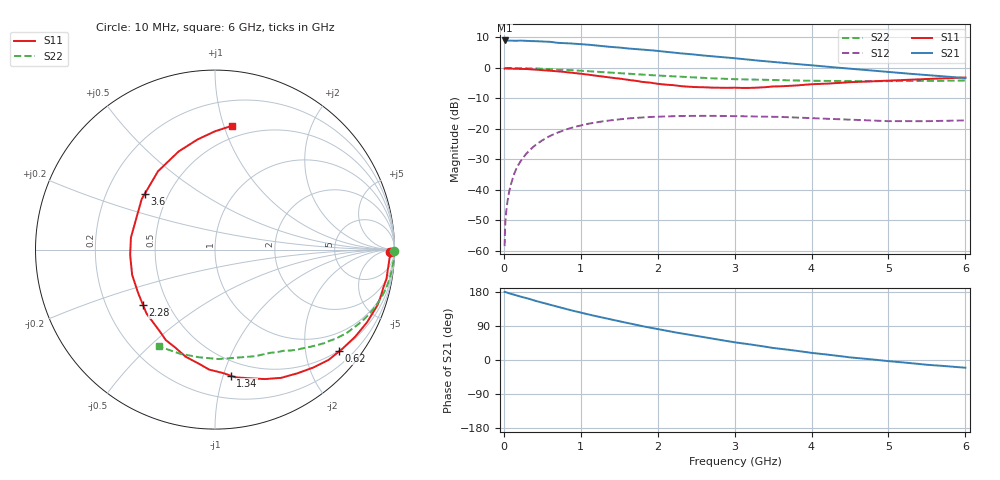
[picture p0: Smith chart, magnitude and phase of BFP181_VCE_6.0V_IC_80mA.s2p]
! Infineon Technologies  Discrete & RF Semiconductors
! BFP181
! VCE = 6.0 V,  IC =  80 mA
! Common Emitter S-Parameters:  Jan 2016
# GHz  S  MA  R  50
!  f  S11  S21  S12  S22
! GHz  MAG  ANG  MAG  ANG  MAG  ANG  MAG  ANG
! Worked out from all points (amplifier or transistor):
!   210 points, 10 MHz to 6 GHz, reference 50 ohm
!   highest |S21| = 9.0 dB at 10 MHz (marker M1)
!   |S21| within 3 dB of that: start of sweep to 1.819 GHz
!   unconditionally stable (mu >= 1): 3.342 GHz to end of sweep
!   at 185 MHz: K = 0.06, MSG = 20.4 dB, |S12| = -31.9 dB
!   at 1.52 GHz: K = 0.49, MSG = 11.7 dB, |S12| = -16.8 dB
!   at 6 GHz: K = 1.31, MAG = 3.6 dB, |S12| = -17.2 dB
!   S11 on the Smith chart (normalised r, x): 10 MHz: 59, -30; 620 MHz: 0.48, -2.73; 1.34 GHz: 0.38, -1.06; 2.28 GHz: 0.36, -0.30; 3.6 GHz: 0.37, +0.31; 6 GHz: 0.40, +1.06
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0.01  0.9735 -0.8  2.813 179.6  0.0012 83.5  0.9989 -0.3
0.015  0.9769 -1.1  2.807 179.6  0.0021 88.9  0.9963 -0.4
0.02  0.9804 -1.4  2.801 179.5  0.003 91.0  0.9937 -0.5
0.045  0.9744 -2.7  2.802 177.6  0.0062 90.9  0.9966 -1.4
0.08  0.9704 -5.2  2.795 175.5  0.0108 86.9  0.9972 -2.4
0.15  0.9692 -9.6  2.776 171.4  0.0205 83.2  0.9951 -4.5
0.2  0.9612 -12.9  2.805 168.3  0.0273 81.8  0.9927 -6.1
0.34  0.948 -21.6  2.749 160.6  0.0454 75.1  0.9839 -10.3
0.5  0.9195 -31.9  2.709 150.9  0.0651 68.1  0.9688 -14.9
0.62  0.8948 -39.3  2.65 144.7  0.0787 63.2  0.9538 -18.3
0.84  0.8434 -52.6  2.529 133.0  0.1006 54.7  0.9228 -24.0
1.02  0.7971 -63.9  2.432 124.1  0.1154 48.3  0.8943 -28.4
1.34  0.7079 -82.9  2.236 109.4  0.136 37.8  0.844 -35.3
1.8  0.5896 -111.9  2.001 89.2  0.1544 26.2  0.7754 -43.4
2.02  0.545 -125.5  1.883 80.9  0.159 21.2  0.7467 -46.9
2.28  0.5063 -142.3  1.738 71.1  0.1626 15.6  0.7172 -51.1
2.8  0.4736 -176.5  1.519 53.2  0.1634 7.0  0.669 -58.7
3.1  0.4695 166.4  1.396 44.0  0.1613 2.8  0.6483 -63.2
3.6  0.4997 141.4  1.222 29.5  0.1572 -2.4  0.6297 -71.0
4.1  0.5448 122.8  1.073 16.7  0.1483 -5.7  0.6129 -80.2
5.1  0.6272 97.2  0.836 -4.7  0.134 -6.4  0.6059 -100.6
6  0.6952 82.4  0.681 -20.4  0.1379 -2.2  0.6223 -119.9
